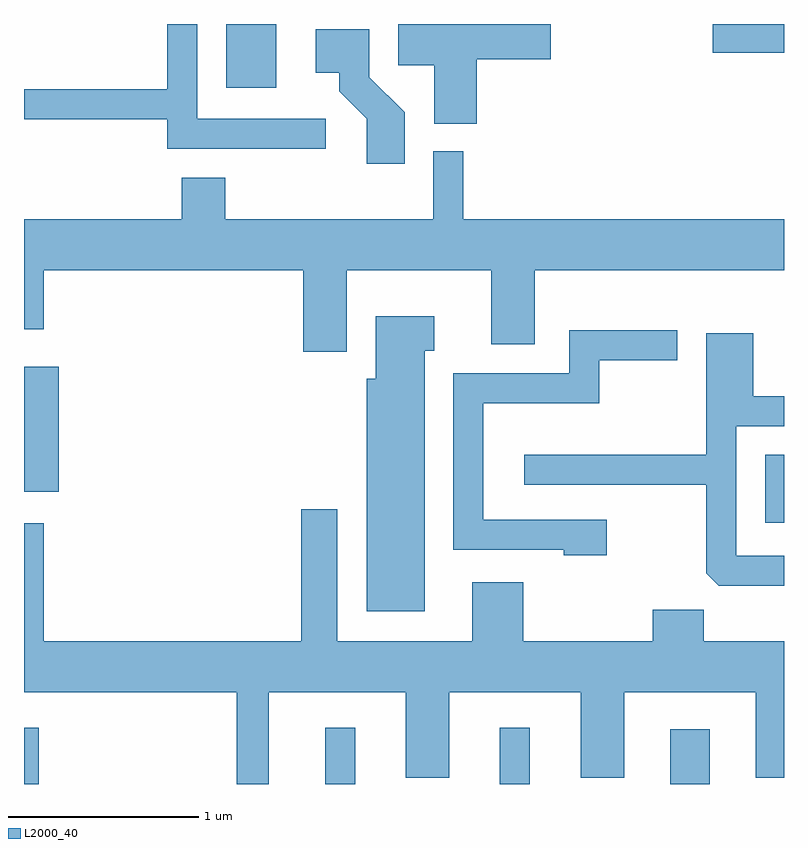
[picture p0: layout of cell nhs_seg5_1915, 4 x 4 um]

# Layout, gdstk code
import gdstk
lib = gdstk.Library(unit=1e-6, precision=1e-09)
def R(c, l, rs):  # rectangles x0, y0, x1, y1
    for r in rs: c.add(gdstk.rectangle(r[:2], r[2:], *l))
def P(c, l, *ps):  # polygons
    for p in ps: c.add(gdstk.Polygon(p, *l))
L2000_40 = (2000, 40)

nhs_seg5_1915 = lib.new_cell('nhs_seg5_1915')
R(nhs_seg5_1915, L2000_40, [(241.611,1474.072,241.689,1474.368), (243.196,1474.072,243.354,1474.368), (244.116,1474.072,244.274,1474.368), (245.011,1474.072,245.219,1474.359), (245.511,1475.446,245.611,1475.804), (241.611,1475.611,241.794,1476.269), (242.676,1477.736,242.939,1478.072), (245.236,1477.921,245.611,1478.072)])
P(nhs_seg5_1915, L2000_40, [(243.994,1477.886),(244.384,1477.886),(244.384,1478.072),(243.581,1478.072),(243.581,1477.856),(243.771,1477.856),(243.771,1477.546),(243.994,1477.546)],
  [(243.198,1477.574),(242.524,1477.574),(242.524,1478.072),(242.366,1478.072),(242.366,1477.729),(241.611,1477.729),(241.611,1477.571),(242.366,1477.571),(242.366,1477.416),(243.198,1477.416)],
  [(243.614,1477.607),(243.429,1477.792),(243.429,1478.044),(243.146,1478.044),(243.146,1477.816),(243.271,1477.816),(243.271,1477.719),(243.416,1477.574),(243.416,1477.336),(243.614,1477.336)],
  [(243.309,1476.776),(244.071,1476.776),(244.071,1476.386),(244.299,1476.386),(244.299,1476.776),(245.611,1476.776),(245.611,1477.044),(243.924,1477.044),(243.924,1477.403),(243.766,1477.403),(243.766,1477.044),(242.669,1477.044),(242.669,1477.264),(242.441,1477.264),(242.441,1477.044),(241.611,1477.044),(241.611,1476.466),(241.714,1476.466),(241.714,1476.776),(243.081,1476.776),(243.081,1476.346),(243.309,1476.346)],
  [(243.719,1476.351),(243.769,1476.351),(243.769,1476.534),(243.461,1476.534),(243.461,1476.204),(243.416,1476.204),(243.416,1474.981),(243.719,1474.981)],
  [(244.679,1475.464),(244.029,1475.464),(244.029,1476.076),(244.639,1476.076),(244.639,1476.301),(245.048,1476.301),(245.048,1476.459),(244.481,1476.459),(244.481,1476.234),(243.871,1476.234),(243.871,1475.306),(244.451,1475.306),(244.451,1475.276),(244.679,1475.276)],
  [(245.611,1475.274),(245.359,1475.274),(245.359,1475.956),(245.611,1475.956),(245.611,1476.114),(245.449,1476.114),(245.449,1476.444),(245.201,1476.444),(245.201,1475.804),(244.243,1475.804),(244.243,1475.646),(245.201,1475.646),(245.201,1475.182),(245.267,1475.116),(245.611,1475.116)],
  [(242.899,1474.556),(243.621,1474.556),(243.621,1474.106),(243.849,1474.106),(243.849,1474.556),(244.541,1474.556),(244.541,1474.106),(244.769,1474.106),(244.769,1474.556),(245.461,1474.556),(245.461,1474.106),(245.611,1474.106),(245.611,1474.824),(245.189,1474.824),(245.189,1474.989),(244.921,1474.989),(244.921,1474.824),(244.239,1474.824),(244.239,1475.134),(243.971,1475.134),(243.971,1474.824),(243.259,1474.824),(243.259,1475.519),(243.071,1475.519),(243.071,1474.824),(241.714,1474.824),(241.714,1475.444),(241.611,1475.444),(241.611,1474.556),(242.731,1474.556),(242.731,1474.072),(242.899,1474.072)])

lib.write_gds('nhs_seg5_1915.gds')
